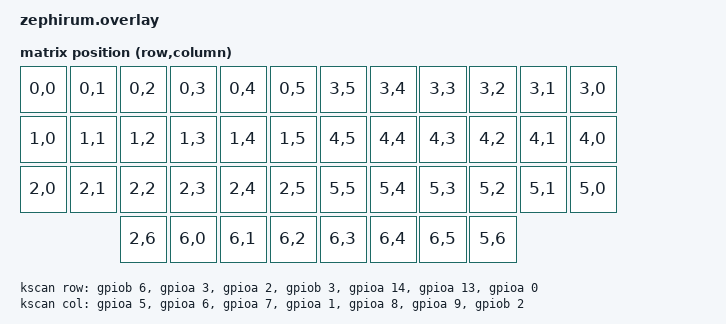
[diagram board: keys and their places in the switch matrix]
/*
 * Copyright (c) 2021 The ZMK Contributors
 *
 * SPDX-License-Identifier: MIT
 */

#include <dt-bindings/zmk/matrix_transform.h>

/ {
	chosen {
		zmk,kscan = &kscan;
		zmk,matrix_transform = &default_transform;
	};

	default_transform: keymap_transform_0 {
		compatible = "zmk,matrix-transform";
		columns = <12>;
		rows = <4>;
		map = <
RC(0,0) RC(0,1) RC(0,2) RC(0,3) RC(0,4) RC(0,5)   RC(3,5) RC(3,4) RC(3,3) RC(3,2) RC(3,1) RC(3,0)
RC(1,0) RC(1,1) RC(1,2) RC(1,3) RC(1,4) RC(1,5)   RC(4,5) RC(4,4) RC(4,3) RC(4,2) RC(4,1) RC(4,0)
RC(2,0) RC(2,1) RC(2,2) RC(2,3) RC(2,4) RC(2,5)   RC(5,5) RC(5,4) RC(5,3) RC(5,2) RC(5,1) RC(5,0)
                RC(2,6) RC(6,0) RC(6,1) RC(6,2)   RC(6,3) RC(6,4) RC(6,5) RC(5,6)
>;
	};

	kscan: kscan {
		compatible = "zmk,kscan-gpio-matrix";
		label = "KSCAN";
		diode-direction = "col2row";

		debounce-press-ms   = <1>;
		debounce-release-ms = <30>;

		col-gpios = <&gpioa 5 GPIO_ACTIVE_HIGH>,
		            <&gpioa 6 GPIO_ACTIVE_HIGH>,
		            <&gpioa 7 GPIO_ACTIVE_HIGH>,
		            <&gpioa 1 GPIO_ACTIVE_HIGH>,
		            <&gpioa 8 GPIO_ACTIVE_HIGH>,
		            <&gpioa 9 GPIO_ACTIVE_HIGH>,
		            <&gpiob 2 GPIO_ACTIVE_HIGH>;

		row-gpios = <&gpiob 6 (GPIO_ACTIVE_HIGH  | GPIO_PULL_DOWN)>,
		            <&gpioa 3 (GPIO_ACTIVE_HIGH  | GPIO_PULL_DOWN)>,
		            <&gpioa 2 (GPIO_ACTIVE_HIGH  | GPIO_PULL_DOWN)>,
		            <&gpiob 3 (GPIO_ACTIVE_HIGH  | GPIO_PULL_DOWN)>,
		            <&gpioa 14 (GPIO_ACTIVE_HIGH | GPIO_PULL_DOWN)>,
		            <&gpioa 13 (GPIO_ACTIVE_HIGH | GPIO_PULL_DOWN)>,
		            <&gpioa 0 (GPIO_ACTIVE_HIGH  | GPIO_PULL_DOWN)>;
	};
};

&i2c1 {
	status = "okay";

	oled: ssd1306@3c {
		compatible = "solomon,ssd1306fb";
		reg = <0x3c>;
		label = "DISPLAY";
		width = <128>;
		height = <32>;
		segment-offset = <0>;
		page-offset = <0>;
		display-offset = <0>;
		multiplex-ratio = <31>;
		segment-remap;
		com-invdir;
		com-sequential;
		prechargep = <0x22>;
	};
};
